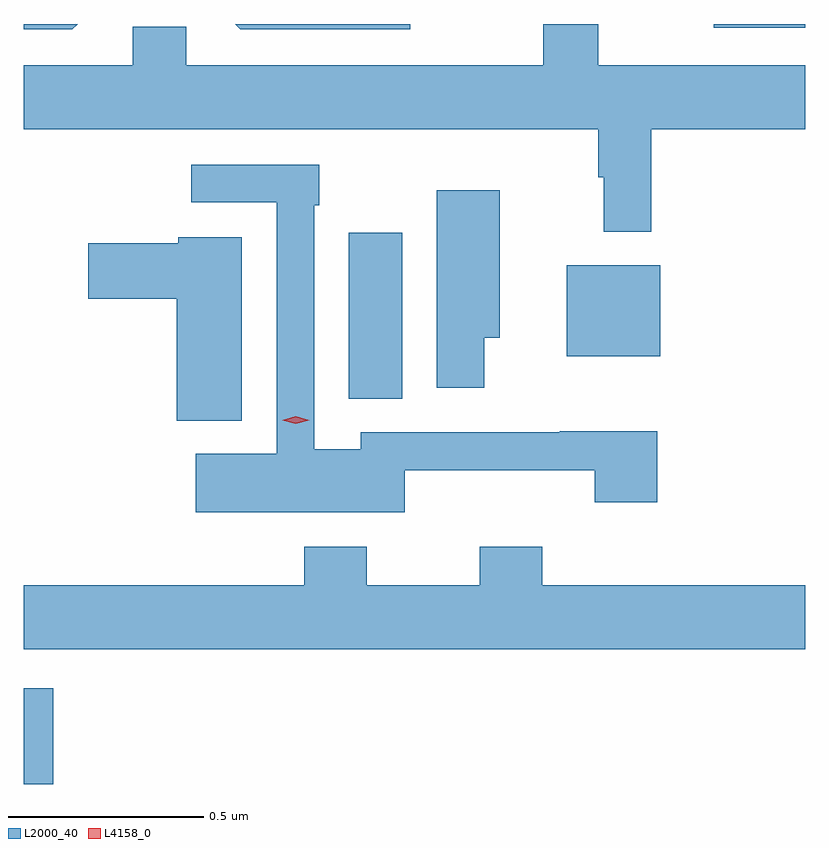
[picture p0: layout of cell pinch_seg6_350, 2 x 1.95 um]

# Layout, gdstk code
import gdstk
lib = gdstk.Library(unit=1e-6, precision=1e-09)
def R(c, l, rs):  # rectangles x0, y0, x1, y1
    for r in rs: c.add(gdstk.rectangle(r[:2], r[2:], *l))
def P(c, l, *ps):  # polygons
    for p in ps: c.add(gdstk.Polygon(p, *l))
L2000_40 = (2000, 40)
L4158_0 = (4158, 0)

pinch_seg6_350 = lib.new_cell('pinch_seg6_350')
R(pinch_seg6_350, L2000_40, [(706.429,936.335,706.504,936.58), (707.261,937.321,707.398,937.747), (707.819,937.43,708.058,937.663), (708.195,938.271,708.429,938.281)])
P(pinch_seg6_350, L2000_40, [(708.035,938.012),(708.429,938.012),(708.429,938.176),(707.899,938.176),(707.899,938.281),(707.759,938.281),(707.759,938.176),(706.845,938.176),(706.845,938.274),(706.707,938.274),(706.707,938.176),(706.429,938.176),(706.429,938.012),(707.899,938.012),(707.899,937.889),(707.914,937.889),(707.914,937.749),(708.035,937.749)],
  [(706.567,938.281),(706.429,938.281),(706.429,938.267),(706.553,938.267)],
  [(707.418,938.281),(706.97,938.281),(706.983,938.268),(707.418,938.268)],
  [(707.404,937.139),(707.89,937.139),(707.89,937.056),(708.05,937.056),(708.05,937.238),(707.801,937.238),(707.801,937.236),(707.291,937.236),(707.291,937.192),(707.172,937.192),(707.172,937.817),(707.185,937.817),(707.185,937.92),(706.857,937.92),(706.857,937.824),(707.076,937.824),(707.076,937.18),(706.869,937.18),(706.869,937.031),(707.404,937.031)],
  [(707.608,937.478),(707.647,937.478),(707.647,937.855),(707.486,937.855),(707.486,937.35),(707.608,937.35)],
  [(706.987,937.735),(706.824,937.735),(706.824,937.719),(706.593,937.719),(706.593,937.577),(706.82,937.577),(706.82,937.265),(706.987,937.265)],
  [(708.429,936.844),(707.756,936.844),(707.756,936.943),(707.596,936.943),(707.596,936.844),(707.307,936.844),(707.307,936.943),(707.147,936.943),(707.147,936.844),(706.429,936.844),(706.429,936.68),(708.429,936.68)])
P(pinch_seg6_350, L4158_0, [(707.125,937.257),(707.09,937.267),(707.09,937.267),(707.09,937.267),(707.125,937.277),(707.16,937.267),(707.16,937.267),(707.16,937.267)])

lib.write_gds('pinch_seg6_350.gds')
